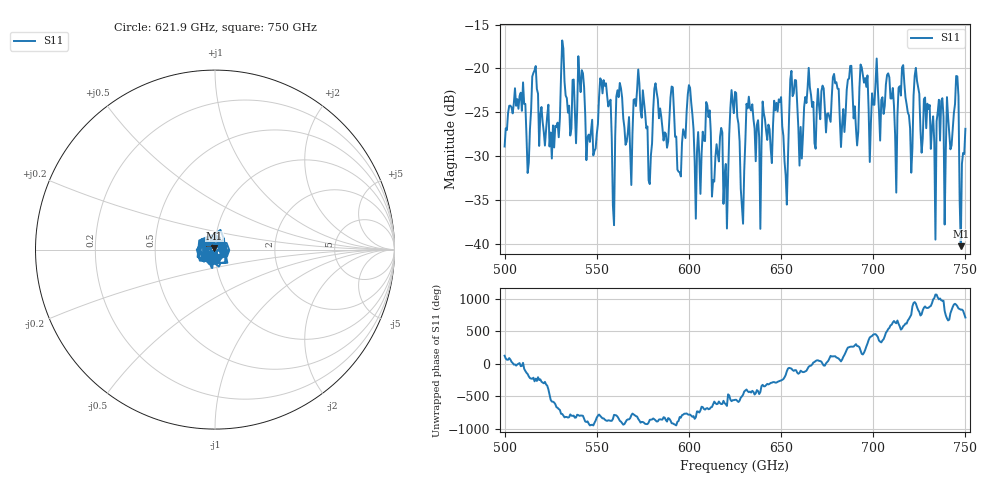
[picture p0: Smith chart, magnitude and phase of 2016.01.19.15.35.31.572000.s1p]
!Created with skrf (http://scikit-rf.org).
# GHz S RI R 50.0
!freq ReS11 ImS11
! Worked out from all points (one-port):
!   401 points, 500 GHz to 750 GHz, reference 50 ohm
!   lowest |S11| = -40.3 dB at 747.5 GHz (marker M1), VSWR 1.02, Z = 49.7 + j0.9 ohm
!   |S11| at or under -10 dB: start of sweep to end of sweep
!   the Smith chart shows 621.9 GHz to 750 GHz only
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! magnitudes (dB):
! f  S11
! 500 GHz  -28.9
! 513.1 GHz  -30.8
! 516.2 GHz  -20.2
! 525.6 GHz  -30.3
! 531.2 GHz  -16.8
! 545.6 GHz  -27.6
! 553.8 GHz  -21.3
! 558.8 GHz  -35.6
! 562.5 GHz  -21.7
! 590.6 GHz  -22.1
! 593.8 GHz  -31.6
! 600.6 GHz  -22.2
! 605 GHz  -27.3
! 610.6 GHz  -25.6
! 620 GHz  -30.9
! 625 GHz  -22.7
! 629.4 GHz  -37.7
! 632.5 GHz  -23.2
! 648.8 GHz  -23.5
! 652.5 GHz  -32.2
! 656.2 GHz  -23.2
! 660.6 GHz  -26.7
! 687.5 GHz  -19.7
! 718.8 GHz  -25.0
! 732.5 GHz  -25.5
! 745 GHz  -20.9
! 747.5 GHz  -40.3
! 750 GHz  -26.9
